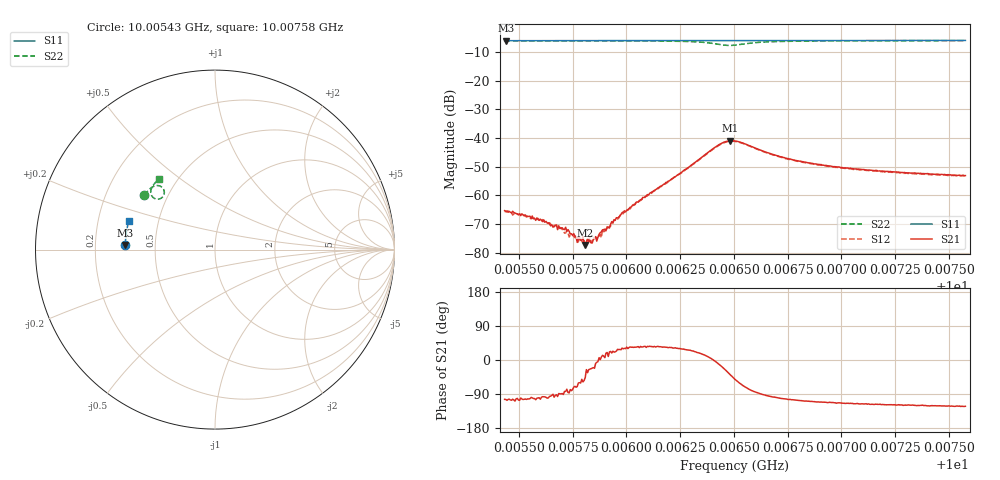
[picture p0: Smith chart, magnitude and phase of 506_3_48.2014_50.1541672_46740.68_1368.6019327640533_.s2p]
#  HZ  S  RI  R  50.00
! Rohde & Schwarz Vector Network Analyzer
! Rohde-Schwarz,ZNB20-2Port,1311601062101988,3.16
! Created: UTC 3/20/2024, 11:58:47 AM
! freq[Hz]  re:S11  im:S11  re:S21  im:S21  re:S12  im:S12  re:S22  im:S22
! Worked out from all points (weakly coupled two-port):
!   401 points, 10.00543 GHz to 10.00758 GHz, reference 50 ohm
!   highest |S21| = -40.88 dB at 10.00648 GHz (marker M1); lowest = -77.3 dB at 10.00581 GHz (marker M2)
!   lowest |S11| = -6.0 dB at 10.00544 GHz (marker M3), VSWR 3.01, Z = 16.6 + j1.12 ohm
!   |S11| at or under -10 dB: nowhere
!   |S22| runs from -7.7 to -6.0 dB; largest |S21 - S12| = 0.00057
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1.0005433e10  -0.5003 0.0249  -0.00013 -0.000527  -0.000118 -0.000513  -0.3932 0.3025
1.0005438e10  -0.5003 0.0253  -0.000129 -0.000514  -0.000105 -0.000509  -0.3931 0.3028
1.000562e10  -0.5 0.0373  -4.36e-05 -0.000339  -8.31e-05 -0.000335  -0.3851 0.3136
1.0005685e10  -0.4997 0.0414  7.1e-06 -0.000296  7.4e-06 -0.00027  -0.382 0.3173
1.0005722e10  -0.4995 0.0438  5.27e-05 -0.00023  5.74e-06 -0.000241  -0.3801 0.3198
1.000576e10  -0.4995 0.0462  6.83e-05 -0.000183  5.61e-05 -0.000175  -0.3785 0.3221
1.0005792e10  -0.4993 0.0484  0.000104 -0.000128  7.66e-05 -0.000137  -0.3767 0.3241
1.0005808e10  -0.4992 0.0494  9.43e-05 -9.89e-05  8e-05 -0.000103  -0.3757 0.3251
1.0005814e10  -0.4992 0.0499  0.00014 -6.65e-05  0.000125 -7.62e-05  -0.3757 0.3255
1.0005851e10  -0.4991 0.0522  0.000171 -6.86e-05  0.000175 -1.9e-05  -0.3734 0.3279
1.0005873e10  -0.4991 0.0535  0.000209 2.22e-05  0.000197 1.39e-05  -0.3722 0.3292
1.0005883e10  -0.4988 0.0543  0.000229 3.18e-05  0.000179 3.3e-05  -0.3716 0.3298
1.0005915e10  -0.4987 0.0564  0.000275 4.48e-05  0.000257 0.000103  -0.3697 0.332
1.000598e10  -0.4984 0.0605  0.000427 0.000262  0.000408 0.000261  -0.3653 0.3364
1.0006151e10  -0.4972 0.0717  0.00113 0.000792  0.00107 0.000822  -0.3501 0.3483
1.0006419e10  -0.4943 0.0888  0.00721 -0.000776  0.00702 -0.00041  -0.2852 0.333
1.0006484e10  -0.4936 0.0925  0.00697 -0.00575  0.00713 -0.00523  -0.2954 0.2897
1.0006505e10  -0.4933 0.0937  0.00562 -0.00696  0.00592 -0.00648  -0.3097 0.2822
1.0006709e10  -0.4919 0.1066  -0.000878 -0.00478  -0.000615 -0.00473  -0.3579 0.3268
1.0006864e10  -0.49 0.1167  -0.00121 -0.00344  -0.00101 -0.00341  -0.351 0.3474
1.0007224e10  -0.485 0.1392  -0.00122 -0.00229  -0.00109 -0.0023  -0.3317 0.3738
1.0007578e10  -0.4788 0.1612  -0.00118 -0.00188  -0.00107 -0.00191  -0.3132 0.3922
